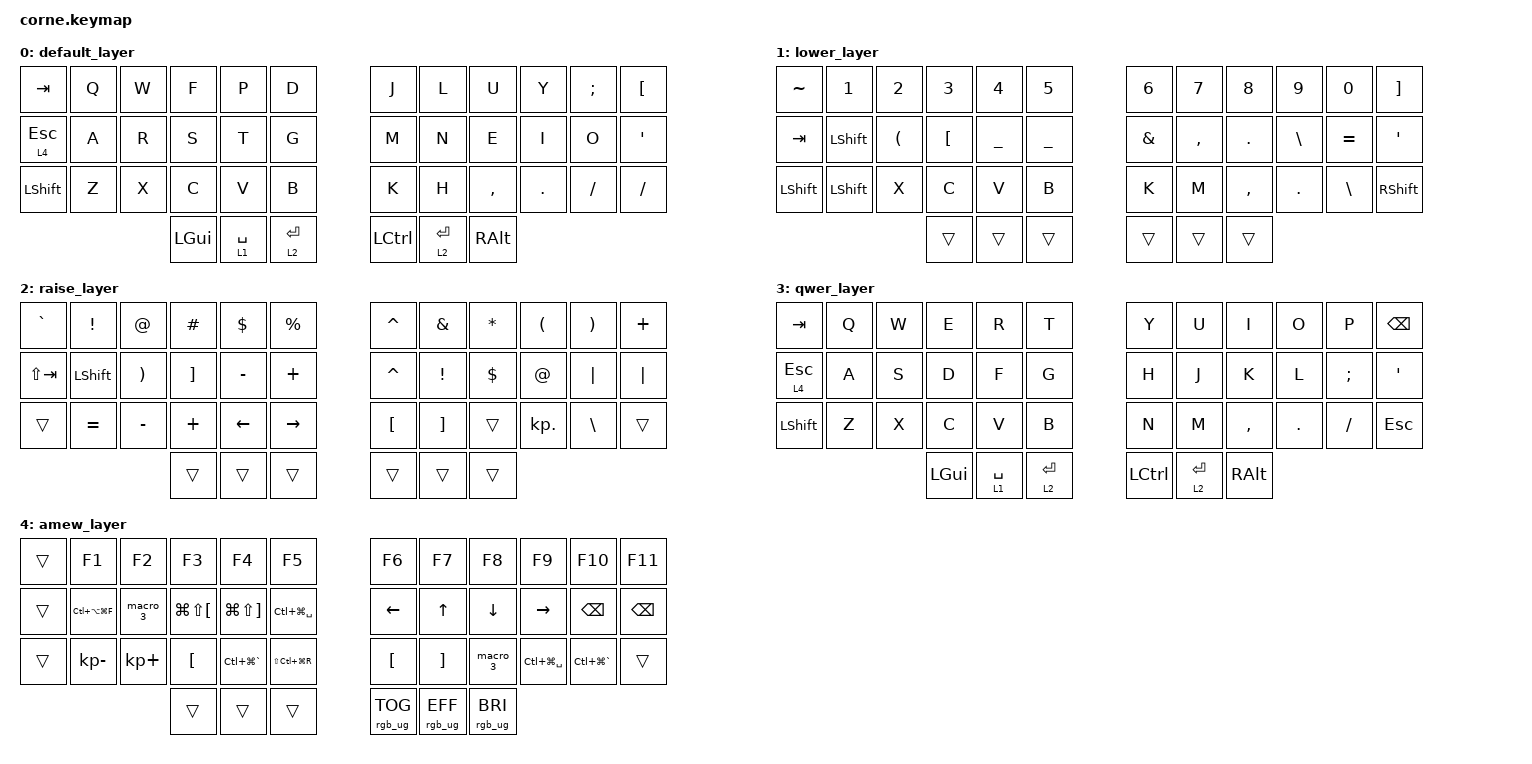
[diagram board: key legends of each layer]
// #include "../../../corne.keymap"

/*
 * Copyright (c) 2020 The ZMK Contributors
 *
 * SPDX-License-Identifier: MIT
 */

#include <behaviors.dtsi>
#include <dt-bindings/zmk/keys.h>
#include <dt-bindings/zmk/bt.h>
#include <dt-bindings/zmk/rgb.h>

/ {
        macros {
                macro_3: macro_3 {
                        compatible = "zmk,behavior-macro";
                        #binding-cells = <0>;
                        bindings = <&kp SPACE &kp SPACE &kp S>;
                };
        };

        keymap {
                compatible = "zmk,keymap";

                default_layer {
// -----------------------------------------------------------------------------------------
// |  TAB |  Q  |  W  |  F  |  P  |  D  |   |  J  |  L   |  U  |  Y  |  ;  |  [   |
// |  ESC |  A  |  R  |  S  |  T  |  G  |   |  M  |  N   |  E  |  I  |  O  |  '   |
// | SHFT |  Z  |  X  |  C  |  V  |  B  |   |  K  |  H   |  ,  |  .  |  /  |  /   |
//                    | GUI | SPC | RET |   | CTRL| RET | OPT |
                        bindings = <
   &kp TAB   &kp Q &kp W &kp F &kp P &kp D   &kp J &kp L  &kp U     &kp Y   &kp SEMI &kp LBKT
   &lt 4 ESC &kp A &kp R &kp S &kp T &kp G   &kp M &kp N  &kp E     &kp I   &kp O    &kp SQT
   &kp LSHFT &kp Z &kp X &kp C &kp V &kp B   &kp K &kp H  &kp COMMA &kp DOT &kp FSLH &kp FSLH
                  &kp LGUI &lt 1 SPACE &lt 2 RET   &kp LCTRL &lt 2 RET &kp RALT
                        >;
                };
                lower_layer {
// -----------------------------------------------------------------------------------------
// |  ~   |  1  |  2  |  3  |  4  |  5  |   |  6  |  7  |  8  |  9  |  0  |  ]   |
// | TAB  |SFT  |  (  |  [  |  _  |  _  |   |  &  |  ,  |  .  |  \  |  =  |  '   |
// | SHFT |SFT  |  X  |  C  |  V  |  B  |   |  K  |  M  |  ,  |  .  |  \  | SFT  |
//                    | TRNS| TRNS| TRNS|   | TRNS| TRNS| TRNS|
                        bindings = <
   &kp TILDE  &kp N1     &kp N2     &kp N3     &kp N4     &kp N5       &kp N6    &kp N7    &kp N8    &kp N9    &kp N0    &kp RBKT
   &kp TAB    &kp LSHFT  &kp LPAR   &kp LBKT   &kp UNDER  &kp UNDER    &kp AMPS  &kp COMMA &kp DOT   &kp BSLH  &kp EQUAL &kp SQT
   &kp LSHFT  &kp LSHFT  &kp X      &kp C      &kp V      &kp B        &kp K     &kp M     &kp COMMA &kp DOT   &kp BSLH  &kp RSHFT
                                     &trans     &trans     &trans       &trans    &trans    &trans
                        >;
                };

                raise_layer {
// -----------------------------------------------------------------------------------------
// |  `   |  !  |  @  |  #  |  $  |  %  |   |  ^  |  &  |  *  |  (  |  )  |  +   |
// |S(TAB)|SFT  |  )  |  ]  |  -  |  +  |   |  ^  |  !  |  $  |  @  |  |  |  |   |
// | TRNS |  =  |  -  |  +  | LFT | RGT |   |  [  |  ]  | TRNS|PDOT |  \  | TRNS |
//                    | TRNS| TRNS| TRNS|   | TRNS| TRNS| TRNS|
                        bindings = <
   &kp GRAVE   &kp EXCL   &kp AT     &kp HASH   &kp DLLR   &kp PRCNT    &kp CARET &kp AMPS  &kp ASTRK &kp LPAR  &kp RPAR  &kp PLUS
   &kp LS(TAB) &kp LSHFT  &kp RPAR   &kp RBKT   &kp MINUS  &kp PLUS     &kp CARET &kp EXCL  &kp DLLR  &kp AT    &kp PIPE  &kp PIPE
   &trans      &kp EQUAL  &kp MINUS  &kp PLUS   &kp LEFT   &kp RIGHT    &kp LBKT  &kp RBKT  &trans    &kp KP_DOT &kp BSLH &trans
                                     &trans     &trans     &trans       &trans    &trans    &trans
                        >;
                };

                qwer_layer {
// -----------------------------------------------------------------------------------------
// |  TAB |  Q  |  W  |  E  |  R  |  T  |   |  Y  |  U   |  I  |  O  |  P  | BKSP |
// |  ESC |  A  |  S  |  D  |  F  |  G  |   |  H  |  J   |  K  |  L  |  ;  |  '   |
// | SHFT |  Z  |  X  |  C  |  V  |  B  |   |  N  |  M   |  ,  |  .  |  /  | ESC  |
//                    | GUI | SPC | RET |   | CTRL| RET | OPT |
                        bindings = <
   &kp TAB   &kp Q &kp W &kp E &kp R &kp T   &kp Y &kp U  &kp I     &kp O   &kp P    &kp BSPC
   &lt 4 ESC &kp A &kp S &kp D &kp F &kp G   &kp H &kp J  &kp K     &kp L   &kp SEMI &kp SQT
   &kp LSHFT &kp Z &kp X &kp C &kp V &kp B   &kp N &kp M  &kp COMMA &kp DOT &kp FSLH &kp ESC
                  &kp LGUI &lt 1 SPACE &lt 2 RET   &kp LCTRL &lt 2 RET &kp RALT
                        >;
                };

                amew_layer {
// -----------------------------------------------------------------------------------------
// | TRNS |  F1 |  F2 |  F3 |  F4 |  F5 |   |  F6 |  F7 |  F8 |  F9 | F10 | F11 |
// | TRNS | MC6 | MC3 | MC1 | MC2 | MC4 |   | LFT |  UP | DWN | RGT | BSP | BSP |
// | TRNS | PMNS| PPLS| LBRC| MC0 | MC5 |   | LBRC| RBRC| MC3 | MC4 | MC0 | TRNS|
//                    | TRNS| TRNS| TRNS|   | TRNS| TRNS| TRNS|
                        bindings = <
   &trans &kp F1            &kp F2          &kp F3           &kp F4           &kp F5             &kp F6    &kp F7    &kp F8           &kp F9             &kp F10           &kp F11
   &trans &kp LC(LA(LG(F))) &macro_3        &kp LG(LS(LBKT)) &kp LG(LS(RBKT)) &kp LC(LG(SPACE))  &kp LEFT  &kp UP    &kp DOWN         &kp RIGHT          &kp BSPC          &kp BSPC
   &trans &kp KP_MINUS      &kp KP_PLUS     &kp LBKT         &kp LC(LG(GRAVE)) &kp LS(LC(LG(R)))  &kp LBKT  &kp RBKT  &macro_3         &kp LC(LG(SPACE))  &kp LC(LG(GRAVE)) &trans
                                            &trans           &trans           &trans             &rgb_ug RGB_TOG &rgb_ug RGB_EFF &rgb_ug RGB_BRI
                        >;
                };
        };
};
